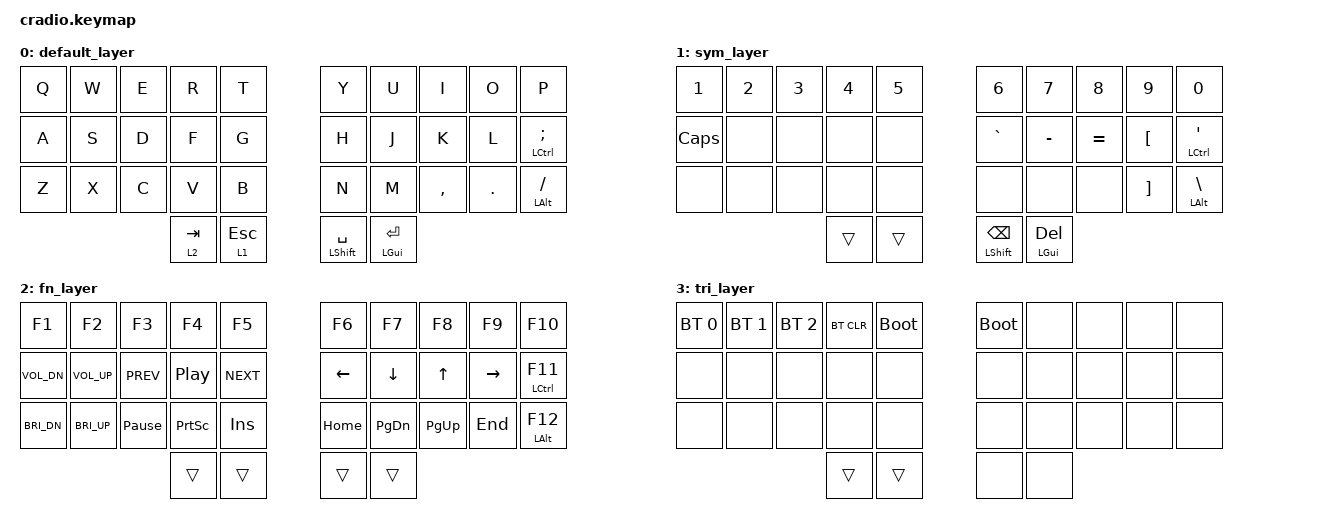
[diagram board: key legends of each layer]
// vi: ft=c
#include <behaviors.dtsi>
#include <dt-bindings/zmk/keys.h>
#include <dt-bindings/zmk/bt.h>

/ {
  behaviors {
    ht: hold_tap {
      label = "hold_tap";
      compatible = "zmk,behavior-hold-tap";
      #binding-cells = <2>;
      flavor = "tap-preferred";
      tapping-term-ms = <220>;
      quick-tap-ms = <150>;
      bindings = <&kp>, <&kp>;
      global-quick-tap;
    };

    hp: hold_preferred {
      label = "hold_preferred";
      compatible = "zmk,behavior-hold-tap";
      #binding-cells = <2>;
      flavor = "hold-preferred";
      tapping-term-ms = <220>;
      quick-tap-ms = <150>;
      bindings = <&kp>, <&kp>;
    };
  };

  conditional_layers {
    compatible = "zmk,conditional-layers";
    tri_layer {
      if-layers = <1 2>;
      then-layer = <3>;
    };
  };

  keymap {
    compatible = "zmk,keymap";
    default_layer {
      bindings = <
        &kp Q &kp W &kp E &kp R &kp T  &kp Y &kp U &kp I &kp O &kp P

        &kp A &kp S &kp D &kp F &kp G  &kp H &kp J &kp K &kp L &ht LCTRL SEMI

        &kp Z &kp X &kp C &kp V &kp B  &kp N &kp M &kp COMMA &kp DOT &ht LALT FSLH

        &lt 2 TAB &lt 1 ESC  &hp LSHFT SPACE &hp LGUI ENTER
      >;
    };

    sym_layer {
      bindings = <
        &kp N1 &kp N2 &kp N3 &kp N4 &kp N5  &kp N6 &kp N7 &kp N8 &kp N9 &kp N0

        &kp CAPS &none &none &none &none  &kp GRAVE &kp MINUS &kp EQUAL &kp LBKT &ht LCTRL SQT

        &none &none &none &none &none  &none &none &none &kp RBKT &ht LALT BSLH

        &trans &trans  &hp LSHFT BSPC &hp LGUI DEL
      >;
    };

    fn_layer {
      bindings = <
        &kp F1 &kp F2 &kp F3 &kp F4 &kp F5  &kp F6 &kp F7 &kp F8 &kp F9 &kp F10

        &kp C_VOL_DN &kp C_VOL_UP &kp C_PREV &kp C_PLAY_PAUSE &kp C_NEXT  &kp LEFT &kp DOWN &kp UP &kp RIGHT &ht LCTRL F11

        &kp C_BRI_DN &kp C_BRI_UP &kp PAUSE_BREAK &kp PSCRN &kp INS  &kp HOME &kp PG_DN &kp PG_UP &kp END &ht LALT F12

        &trans &trans  &trans &trans
      >;
    };

    tri_layer {
      bindings = <
        &bt BT_SEL 0 &bt BT_SEL 1 &bt BT_SEL 2 &bt BT_CLR &bootloader  &bootloader &none &none &none &none

        &none &none &none &none &none  &none &none &none &none &none

        &none &none &none &none &none  &none &none &none &none &none

        &trans &trans  &none &none
      >;
    };
  };
};
